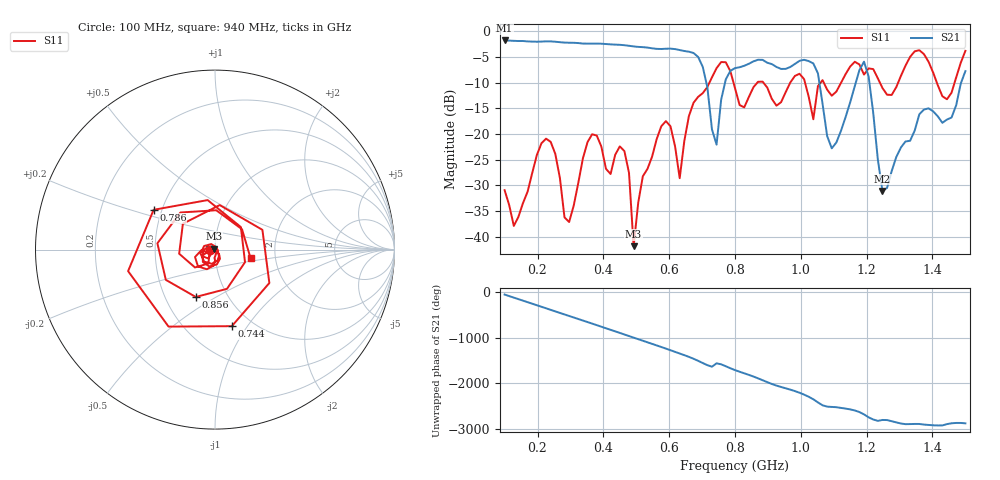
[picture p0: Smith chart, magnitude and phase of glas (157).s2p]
! NanoVNA-App
! Date: 2025-09-25 15:56:41
! Start: 100MHz Stop: 1,5GHz Points: 101
! S-Parameter data: F S11 S21 S12 S22
# Hz S RI R 50
!  Frequency  S11_Real  S11_Imag  S21_Real  S21_Imag  S12_Real  S12_Imag  S22_Real  S22_Imag
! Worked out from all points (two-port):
!   101 points, 100 MHz to 1.5 GHz, reference 50 ohm
!   highest |S21| = -1.80 dB at 100 MHz (marker M1); lowest = -31.1 dB at 1.248 GHz (marker M2)
!   |S21| within 3 dB of the highest: start of sweep to 684.1 MHz
!   lowest |S11| = -41.9 dB at 492 MHz (marker M3), VSWR 1.02, Z = 49.5 + j0.592 ohm
!   |S11| at or under -10 dB: start of sweep to 722.4 MHz; 795.4 MHz to 868 MHz (72.67 MHz wide, 8.74 % of centre); 886.2 MHz to 967.9 MHz (81.73 MHz wide, 8.82 % of centre) (the widest 3 of 7)
!   S12 and S22 are empty: the file has one direction only
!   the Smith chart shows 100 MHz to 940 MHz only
!   S11 on the Smith chart (normalised r, x): 100 MHz: 0.95, -0.01; 744 MHz: 0.81, -0.85; 786 MHz: 0.45, +0.24; 856 MHz: 0.71, -0.41; 940 MHz: 1.49, -0.15
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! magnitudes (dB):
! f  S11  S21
! 100 MHz  -30.9  -1.8
! 128 MHz  -37.9  -1.9
! 226 MHz  -20.9  -2.0
! 296 MHz  -37.2  -2.2
! 338 MHz  -24.7  -2.4
! 464 MHz  -23.3  -2.7
! 492 MHz  -41.9  -3.0
! 576 MHz  -18.5  -3.5
! 632 MHz  -28.6  -3.7
! 702 MHz  -12.1  -6.9
! 744 MHz  -7.2  -22.1
! 786 MHz  -7.8  -7.7
! 800 MHz  -11.1  -7.2
! 856 MHz  -10.9  -5.9
! 940 MHz  -13.8  -7.3
! 996 MHz  -8.3  -5.8
! 1.038 GHz  -17.1  -6.3
! 1.094 GHz  -12.6  -22.8
! 1.192 GHz  -8.4  -5.9
! 1.248 GHz  -11.1  -31.1
! 1.276 GHz  -12.4  -27.2
! 1.5 GHz  -3.8  -7.8
